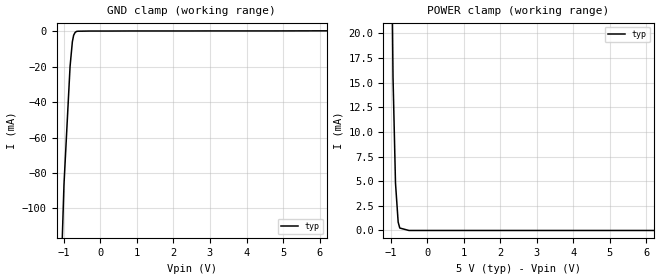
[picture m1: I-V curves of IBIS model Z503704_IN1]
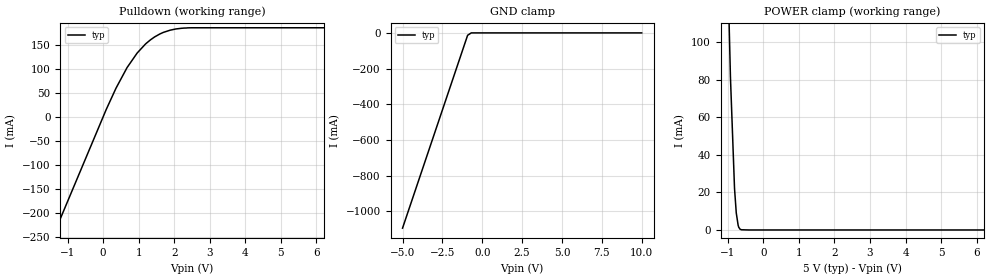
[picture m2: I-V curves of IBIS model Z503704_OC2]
| YOU ARE ONLY AUTHORIZED TO USE THIS SOFTWARE
| ACCORDING TO LICENSOR'S LICENSE RESTRICTIONS.
[IBIS Ver] 3.1
[File Name] mc74ac05d_5.ibs
[File Rev] 2.0
[Source] Measured and created by ICX Technology
[Date] Friday 7/14/00 9:07:58 AM
[Copyright]
| (C) COPYRIGHT 1993-2000
| MENTOR GRAPHICS CORPORATION
| ICX STANDARD LIBRARY, ICX PROJECT MODELING,
| ICX CUSTOM MODELING, ICX VENDOR MODEL
| ALL RIGHTS RESERVED.
| THE FOLLOWING ARE TRADEMARKS OR SERVICE MARKS OF
| MENTOR GRAPHICS CORPORATION:ICX (R), ICX STANDARD
| LIBRARY(R), ICX PROJECT MODELING(R), ICX CUSTOM
| MODELING(R), qualityIBIS(TM), MODELVIEWER(TM),
| AND MODELEDITOR(TM)
| ALL COPIES OF SOFTWARE, INCLUDING BUT NOT LIMITED TO
| ANY MODIFICATIONS, ENHANCEMENTS OR DERIVATIVE WORKS,
| MUST CONTAIN ALL MENTOR GRAPHICS CORPORATION'S
| NOTICES AND LEGENDS, INCLUDING THOSE EMBEDDED IN
| SOFTWARE AND THOSE AFFIXED TO SOFTWARE MEDIUM
| AND CONTAINER, AS RECEIVED FROM MENTOR GRAPHICS
| CORPORATION.
|  ZAP Model Builder 2.7
[Component] MC74AC05D_5
[Manufacturer] OnSemiconductor
[Package]
| variable   typ   min   max
R_pkg  .155ohms NA NA
L_pkg  3.028nH NA NA
C_pkg  .381pF NA NA
[Pin] signal_name  model_name  R_pin  L_pin C_pin
1 A1 Z503704_IN1 .16 3.587n .407p
2 Y1 Z503704_OC2 .156 3.147n .387p
3 A2 Z503704_IN1 .152 2.717n .367p
4 Y2 Z503704_OC2 .148 2.297n .347p
5 A3 Z503704_IN1 .152 2.717n .367p
6 Y3 Z503704_OC2 .156 3.147n .387p
7 GROUND GND .16 3.587n .407p
8 Y4 Z503704_OC2 .16 3.587n .407p
9 A4 Z503704_IN1 .156 3.147n .387p
10 Y5 Z503704_OC2 .152 2.717n .367p
11 A5 Z503704_IN1 .148 2.297n .347p
12 Y6 Z503704_OC2 .152 2.717n .367p
13 A6 Z503704_IN1 .156 3.147n .387p
14 VCC POWER .16 3.587n .407p
| Models and submodels in the file (2): Z503704_IN1 (Input), Z503704_OC2 (Open_sink)
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| (C) COPYRIGHT 1993-2000
| MENTOR GRAPHICS CORPORATION
| ICX STANDARD LIBRARY, ICX PROJECT MODELING,
| ICX CUSTOM MODELING, ICX VENDOR MODEL
| ALL RIGHTS RESERVED.
| THE FOLLOWING ARE TRADEMARKS OR SERVICE MARKS OF
| MENTOR GRAPHICS CORPORATION:ICX (R), ICX STANDARD
| LIBRARY(R), ICX PROJECT MODELING(R), ICX CUSTOM
| MODELING(R), qualityIBIS(TM), MODELVIEWER(TM),
| AND MODELEDITOR(TM)
| ALL COPIES OF SOFTWARE, INCLUDING BUT NOT LIMITED TO
| ANY MODIFICATIONS, ENHANCEMENTS OR DERIVATIVE WORKS,
| MUST CONTAIN ALL MENTOR GRAPHICS CORPORATION'S
| NOTICES AND LEGENDS, INCLUDING THOSE EMBEDDED IN
| SOFTWARE AND THOSE AFFIXED TO SOFTWARE MEDIUM
| AND CONTAINER, AS RECEIVED FROM MENTOR GRAPHICS
| CORPORATION.
| Model Application Version 1.89 2/18/99.
[Model] Z503704_IN1
Model_type Input
Vinl = 1.500V
Vinh = 3.500V
C_comp 4.000pF NA NA
| variable typ   min   max
[Voltage Range] 5.000V NA NA
[GND Clamp Reference] 0.000V NA NA
[POWER Clamp Reference] 5.000V NA NA
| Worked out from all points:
|   GND clamp passes 1 mA (typ) near -0.70 V on its own axis
|   POWER clamp passes 1 mA (typ) near -0.80 V on its own axis
[GND Clamp]
-5V       -2.714A    NA         NA
-996.1mV  -86.57mA   NA         NA
-829.4mV  -19.79mA   NA         NA
-766.3mV  -5.824mA   NA         NA
-731.8mV  -2.199mA   NA         NA
-688.4mV  -521.4uA   NA         NA
-649.3mV  17.31uA    NA         NA
10V       486.4uA    NA         NA
[POWER Clamp]
-5V       3.522A     NA         NA
-1.143V   123.1mA    NA         NA
-1.011V   42.18mA    NA         NA
-937mV    15.6mA     NA         NA
-869mV    4.802mA    NA         NA
-796mV    850.9uA    NA         NA
-752mV    248.4uA    NA         NA
-501.3mV  0A         NA         NA
10V       0A         NA         NA
| (C) COPYRIGHT 1993-2000
| MENTOR GRAPHICS CORPORATION
| ICX STANDARD LIBRARY, ICX PROJECT MODELING,
| ICX CUSTOM MODELING, ICX VENDOR MODEL
| ALL RIGHTS RESERVED.
| THE FOLLOWING ARE TRADEMARKS OR SERVICE MARKS OF
| MENTOR GRAPHICS CORPORATION:ICX (R), ICX STANDARD
| LIBRARY(R), ICX PROJECT MODELING(R), ICX CUSTOM
| MODELING(R), qualityIBIS(TM), MODELVIEWER(TM),
| AND MODELEDITOR(TM)
| ALL COPIES OF SOFTWARE, INCLUDING BUT NOT LIMITED TO
| ANY MODIFICATIONS, ENHANCEMENTS OR DERIVATIVE WORKS,
| MUST CONTAIN ALL MENTOR GRAPHICS CORPORATION'S
| NOTICES AND LEGENDS, INCLUDING THOSE EMBEDDED IN
| SOFTWARE AND THOSE AFFIXED TO SOFTWARE MEDIUM
| AND CONTAINER, AS RECEIVED FROM MENTOR GRAPHICS
| CORPORATION.
| Model Application Version 1.89 2/18/99.
[Model] Z503704_OC2
Model_type Open_sink
Vref=3.500V
Rref=250.0ohms
Cref=50.00pF
Vmeas=2.500V
C_comp 8.000pF NA NA
| variable typ   min   max
[Voltage Range] 5.000V NA NA
[POWER Clamp Reference] 5.000V NA NA
[Pullup Reference] 5.000V NA NA
[Pulldown Reference] 0.000V NA NA
[GND Clamp Reference] 0.000V NA NA
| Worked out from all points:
|   slope of the pulldown table from 0 to 0.75 V, typ, clamps not added: 6.74 ohm
|   GND clamp passes 1 mA (typ) near -0.71 V on its own axis
|   POWER clamp passes 1 mA (typ) near -0.68 V on its own axis
[GND Clamp]
-5V       -1.095A    NA         NA
-918mV    -13.47mA   NA         NA
-688.5mV  0A         NA         NA
10V       0A         NA         NA
[Pulldown]
-5V       -883.3mA   NA         NA
87.89mV   15.96mA    NA         NA
361.6mV   60.28mA    NA         NA
673.9mV   103.5mA    NA         NA
958.7mV   134mA      NA         NA
1.197V    153.1mA    NA         NA
1.329V    161.3mA    NA         NA
1.693V    177mA      NA         NA
2.046V    184.2mA    NA         NA
2.48V     186.7mA    NA         NA
10V       186.7mA    NA         NA
[POWER Clamp]
-5V       3.23A      NA         NA
-926mV    81.58mA    NA         NA
-811mV    22.12mA    NA         NA
-762mV    9.087mA    NA         NA
-709mV    2.468mA    NA         NA
-692mV    1.431mA    NA         NA
-654mV    388.5uA    NA         NA
-615mV    107.2uA    NA         NA
-410mV    0A         NA         NA
10V       0A         NA         NA
[Ramp]
| variable typ min max
dV/dt_r 2.889/2.747n NA NA
dV/dt_f 2.889/254.0p NA NA
R_load = 250.0Ohms
